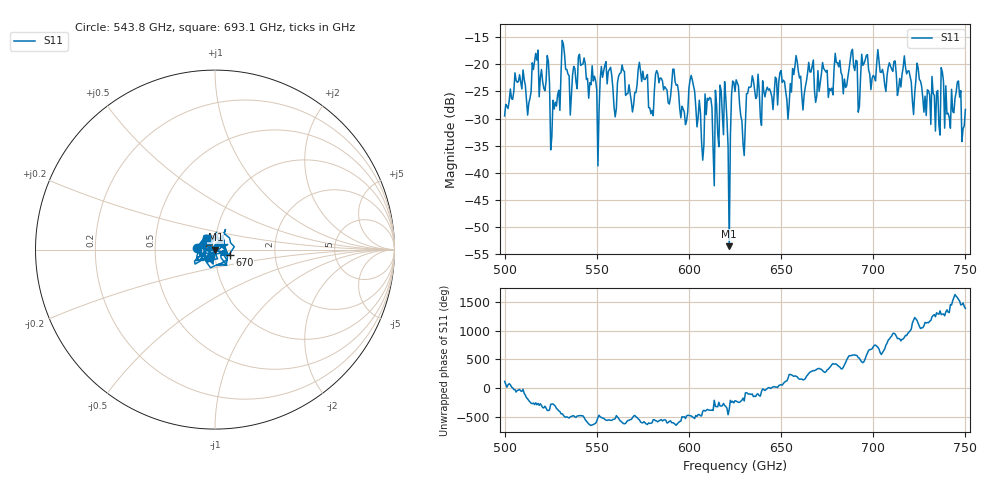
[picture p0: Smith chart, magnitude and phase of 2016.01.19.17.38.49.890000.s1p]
!Created with skrf (http://scikit-rf.org).
# GHz S RI R 50.0
!freq ReS11 ImS11
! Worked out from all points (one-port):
!   401 points, 500 GHz to 750 GHz, reference 50 ohm
!   lowest |S11| = -53.5 dB at 621.9 GHz (marker M1), VSWR 1.00, Z = 50.2 - j0.017 ohm
!   |S11| at or under -10 dB: start of sweep to end of sweep
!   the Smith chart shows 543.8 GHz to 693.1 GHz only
!   S11 on the Smith chart (normalised r, x): 543.8 GHz: 0.82, +0.02; 670 GHz: 1.17, -0.07; 693.1 GHz: 0.91, +0.11
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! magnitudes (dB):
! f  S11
! 500 GHz  -29.5
! 506.9 GHz  -23.3
! 513.1 GHz  -27.2
! 516.9 GHz  -18.0
! 526.2 GHz  -26.6
! 531.2 GHz  -15.6
! 543.8 GHz  -19.9
! 550.6 GHz  -38.7
! 553.8 GHz  -21.2
! 560 GHz  -29.7
! 562.5 GHz  -21.7
! 579.4 GHz  -29.1
! 583.1 GHz  -21.7
! 593.8 GHz  -23.8
! 598.1 GHz  -31.1
! 601.9 GHz  -22.9
! 606.9 GHz  -34.4
! 618.1 GHz  -29.3
! 621.9 GHz  -53.5
! 625 GHz  -25.0
! 629.4 GHz  -34.7
! 633.8 GHz  -24.1
! 656.2 GHz  -20.8
! 670 GHz  -21.2
! 687.5 GHz  -19.3
! 693.1 GHz  -22.4
! 718.8 GHz  -21.3
! 750 GHz  -28.3
